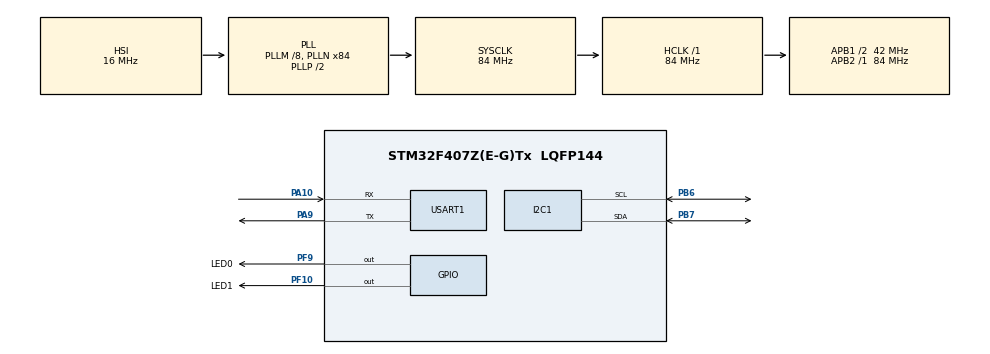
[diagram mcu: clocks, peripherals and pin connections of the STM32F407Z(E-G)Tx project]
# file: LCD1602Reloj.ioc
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I2C1.OwnAddress=0
Mcu.Family=STM32F4
Mcu.Name=STM32F407Z(E-G)Tx
Mcu.Package=LQFP144
NVIC.PriorityGroup=NVIC_PRIORITYGROUP_2
NVIC.RTC_Alarm_IRQn=true\:1\:2\:true\:false\:true\:true\:true\:true
NVIC.RTC_WKUP_IRQn=true\:2\:1\:true\:false\:true\:true\:true\:true
PA10.Mode=Asynchronous
PA10.Signal=USART1_RX
PA13.Mode=Serial_Wire
PA13.Signal=SYS_JTMS-SWDIO
PA14.Mode=Serial_Wire
PA14.Signal=SYS_JTCK-SWCLK
PA9.Mode=Asynchronous
PA9.Signal=USART1_TX
PB6.GPIO_Pu=GPIO_PULLUP
PB6.Mode=I2C
PB6.Signal=I2C1_SCL
PB7.GPIO_Pu=GPIO_PULLUP
PB7.Mode=I2C
PB7.Signal=I2C1_SDA
PC14-OSC32_IN.Mode=LSE-External-Oscillator
PC14-OSC32_IN.Signal=RCC_OSC32_IN
PC15-OSC32_OUT.Mode=LSE-External-Oscillator
PC15-OSC32_OUT.Signal=RCC_OSC32_OUT
PF10.GPIO_Label=LED1
PF10.GPIO_Speed=GPIO_SPEED_FREQ_MEDIUM
PF10.PinState=GPIO_PIN_SET
PF10.Signal=GPIO_Output
PF9.GPIO_Label=LED0
PF9.GPIO_Speed=GPIO_SPEED_FREQ_MEDIUM
PF9.PinState=GPIO_PIN_RESET
PF9.Signal=GPIO_Output
PH0-OSC_IN.Mode=HSE-External-Oscillator
PH0-OSC_IN.Signal=RCC_OSC_IN
PH1-OSC_OUT.Mode=HSE-External-Oscillator
PH1-OSC_OUT.Signal=RCC_OSC_OUT
ProjectManager.HeapSize=0x200
ProjectManager.StackSize=0x400
ProjectManager.TargetToolchain=MDK-ARM V5.32
RCC.48MHZClocksFreq_Value=42000000
RCC.AHBFreq_Value=84000000
RCC.APB1CLKDivider=RCC_HCLK_DIV2
RCC.APB1Freq_Value=42000000
RCC.APB1TimFreq_Value=84000000
RCC.APB2Freq_Value=84000000
RCC.APB2TimFreq_Value=84000000
RCC.CortexFreq_Value=84000000
RCC.HCLKFreq_Value=84000000
RCC.HSE_VALUE=25000000
RCC.HSI_VALUE=16000000
RCC.PLLM=8
RCC.PLLN=84
RCC.SYSCLKFreq_VALUE=84000000
RCC.SYSCLKSource=RCC_SYSCLKSOURCE_PLLCLK
RCC.VCOOutputFreq_Value=168000000
RTC.Alarm=RTC_ALARM_A
RTC.AlarmDateWeekDay=1
RTC.AlarmMaskDateWeekDay=RTC_ALARMMASK_DATEWEEKDAY
RTC.Date=19
RTC.Hours=13
RTC.Hours_A=15
RTC.Minutes=5
RTC.Minutes_A=6
RTC.Month=RTC_MONTH_FEBRUARY
RTC.WakeUpClock=RTC_WAKEUPCLOCK_CK_SPRE_16BITS
RTC.Year=24
USART1.VirtualMode=VM_ASYNC
VP_RTC_VS_RTC_Activate.Mode=RTC_Enabled
VP_RTC_VS_RTC_Alarm_A_Intern.Mode=Alarm A
VP_RTC_VS_RTC_Calendar.Mode=RTC_Calendar
VP_RTC_VS_RTC_WakeUp_intern.Mode=WakeUp
board=custom

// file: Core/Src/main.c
/* USER CODE BEGIN Header */
/**
  ******************************************************************************
  * @file           : main.c
  * @brief          : Main program body
  ******************************************************************************
  * @attention
  *
  * Copyright (c) 2024 STMicroelectronics.
  * All rights reserved.
  *
  * This software is licensed under terms that can be found in the LICENSE file
  * in the root directory of this software component.
  * If no LICENSE file comes with this software, it is provided AS-IS.
  *
  ******************************************************************************
  */
/* USER CODE END Header */
#include "main.h"
#include "i2c.h"
#include "rtc.h"
#include "usart.h"
#include "gpio.h"

/* USER CODE BEGIN Includes */
#include "lcd1602.h"
/* USER CODE END Includes */

/* USER CODE BEGIN PD */
extern uint8_t updateLCD;
/* USER CODE END PD */

void SystemClock_Config(void);

int main(void)
{
  /* USER CODE BEGIN 1 */
	char buf[16], buf1[16];
	RTC_TimeTypeDef RTC_TimeStruct;
  RTC_DateTypeDef RTC_DateStruct;
	//int i = 0;
  /* USER CODE END 1 */

  /* MCU Configuration--------------------------------------------------------*/

  /* Reset of all peripherals, Initializes the Flash interface and the Systick. */
  HAL_Init();

  /* Configure the system clock */
  SystemClock_Config();

  /* Initialize all configured peripherals */
  MX_GPIO_Init();
  MX_USART1_UART_Init();
  MX_RTC_Init();
  MX_I2C1_Init();
  /* USER CODE BEGIN 2 */
	lcd1602Init();
	// backlight on, underline off, blink block on
	lcd1602Control(1,0,1);
  /* USER CODE END 2 */

  /* Infinite loop */
  while (1)
  {

    /* USER CODE BEGIN 3 */
		if(updateLCD) {
			updateLCD = 0;
			HAL_RTC_GetTime(&hrtc,&RTC_TimeStruct,RTC_FORMAT_BIN);
			lcd1602Clear();
			sprintf(buf,"%02d:%02d:%02d",RTC_TimeStruct.Hours,RTC_TimeStruct.Minutes,RTC_TimeStruct.Seconds);
			lcd1602SetCursor(0,0);
			lcd1602WriteString(buf);

			HAL_RTC_GetDate(&hrtc,&RTC_DateStruct,RTC_FORMAT_BIN);
			sprintf(buf1,"20%02d-%02d-%02d",RTC_DateStruct.Year,RTC_DateStruct.Month,RTC_DateStruct.Date);
			lcd1602SetCursor(0,1);
			lcd1602WriteString(buf1);
		}
  }
  /* USER CODE END 3 */
}

void SystemClock_Config(void)
{
  RCC_OscInitTypeDef RCC_OscInitStruct = {0};
  RCC_ClkInitTypeDef RCC_ClkInitStruct = {0};

  /** Configure the main internal regulator output voltage
  */
  __HAL_RCC_PWR_CLK_ENABLE();
  __HAL_PWR_VOLTAGESCALING_CONFIG(PWR_REGULATOR_VOLTAGE_SCALE1);

  /** Initializes the RCC Oscillators according to the specified parameters
  * in the RCC_OscInitTypeDef structure.
  */
  RCC_OscInitStruct.OscillatorType = RCC_OSCILLATORTYPE_HSI|RCC_OSCILLATORTYPE_LSI;
  RCC_OscInitStruct.HSIState = RCC_HSI_ON;
  RCC_OscInitStruct.HSICalibrationValue = RCC_HSICALIBRATION_DEFAULT;
  RCC_OscInitStruct.LSIState = RCC_LSI_ON;
  RCC_OscInitStruct.PLL.PLLState = RCC_PLL_ON;
  RCC_OscInitStruct.PLL.PLLSource = RCC_PLLSOURCE_HSI;
  RCC_OscInitStruct.PLL.PLLM = 8;
  RCC_OscInitStruct.PLL.PLLN = 84;
  RCC_OscInitStruct.PLL.PLLP = RCC_PLLP_DIV2;
  RCC_OscInitStruct.PLL.PLLQ = 4;
  if (HAL_RCC_OscConfig(&RCC_OscInitStruct) != HAL_OK)
  {
    Error_Handler();
  }

  /** Initializes the CPU, AHB and APB buses clocks
  */
  RCC_ClkInitStruct.ClockType = RCC_CLOCKTYPE_HCLK|RCC_CLOCKTYPE_SYSCLK
                              |RCC_CLOCKTYPE_PCLK1|RCC_CLOCKTYPE_PCLK2;
  RCC_ClkInitStruct.SYSCLKSource = RCC_SYSCLKSOURCE_PLLCLK;
  RCC_ClkInitStruct.AHBCLKDivider = RCC_SYSCLK_DIV1;
  RCC_ClkInitStruct.APB1CLKDivider = RCC_HCLK_DIV2;
  RCC_ClkInitStruct.APB2CLKDivider = RCC_HCLK_DIV1;

  if (HAL_RCC_ClockConfig(&RCC_ClkInitStruct, FLASH_LATENCY_2) != HAL_OK)
  {
    Error_Handler();
  }
}

void Error_Handler(void)
{
  __disable_irq();
  while (1)
  {
  }
}
